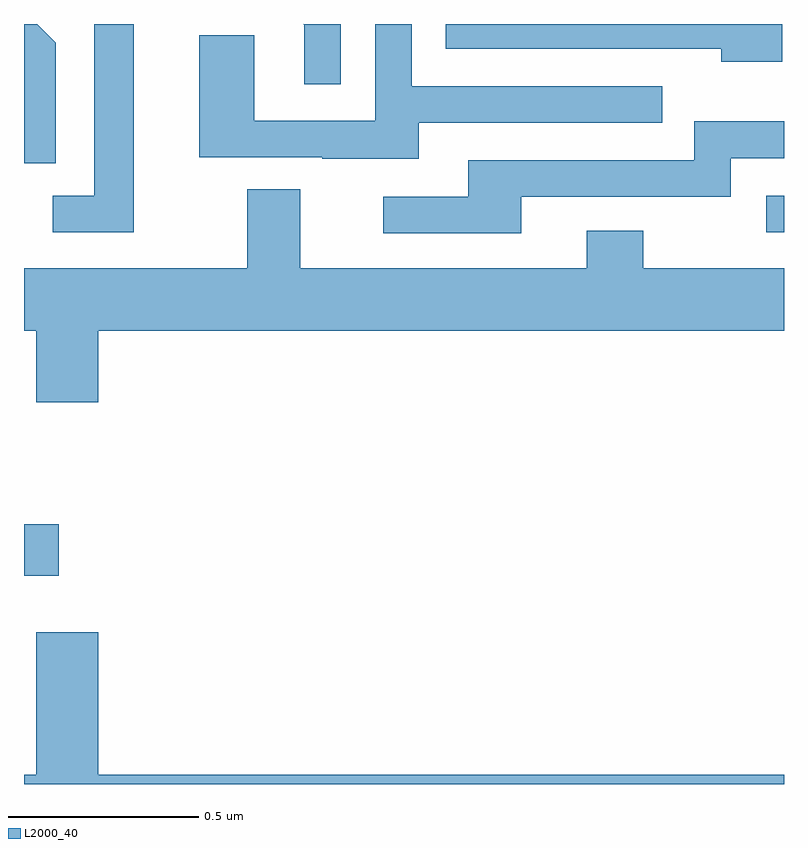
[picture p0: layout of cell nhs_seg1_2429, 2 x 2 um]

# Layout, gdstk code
import gdstk
lib = gdstk.Library(unit=1e-6, precision=1e-09)
def R(c, l, rs):  # rectangles x0, y0, x1, y1
    for r in rs: c.add(gdstk.rectangle(r[:2], r[2:], *l))
def P(c, l, *ps):  # polygons
    for p in ps: c.add(gdstk.Polygon(p, *l))
L2000_40 = (2000, 40)

nhs_seg1_2429 = lib.new_cell('nhs_seg1_2429')
R(nhs_seg1_2429, L2000_40, [(141,557.747,141.091,557.882), (142.953,558.651,143,558.747)])
P(nhs_seg1_2429, L2000_40, [(141.084,559.15),(141.035,559.199),(141,559.199),(141,558.832),(141.084,558.832)],
  [(142.996,559.199),(142.11,559.199),(142.11,559.134),(142.835,559.134),(142.835,559.1),(142.996,559.1)],
  [(142.039,558.939),(142.679,558.939),(142.679,559.035),(142.02,559.035),(142.02,559.199),(141.924,559.199),(141.924,558.945),(141.606,558.945),(141.606,559.169),(141.461,559.169),(141.461,558.849),(141.785,558.849),(141.785,558.845),(142.039,558.845)],
  [(141.289,559.199),(141.185,559.199),(141.185,558.747),(141.075,558.747),(141.075,558.651),(141.289,558.651)],
  [(141.834,559.199),(141.735,559.199),(141.737,559.197),(141.737,559.041),(141.834,559.041)],
  [(142.309,558.744),(142.86,558.744),(142.86,558.846),(143,558.846),(143,558.943),(142.764,558.943),(142.764,558.84),(142.169,558.84),(142.169,558.744),(141.945,558.744),(141.945,558.648),(142.309,558.648)],
  [(141.196,558.392),(143,558.392),(143,558.556),(142.629,558.556),(142.629,558.655),(142.481,558.655),(142.481,558.556),(141.727,558.556),(141.727,558.764),(141.587,558.764),(141.587,558.556),(141,558.556),(141,558.392),(141.032,558.392),(141.032,558.204),(141.196,558.204)],
  [(143,557.224),(141.196,557.224),(141.196,557.599),(141.032,557.599),(141.032,557.224),(141,557.224),(141,557.199),(143,557.199)])

lib.write_gds('nhs_seg1_2429.gds')
